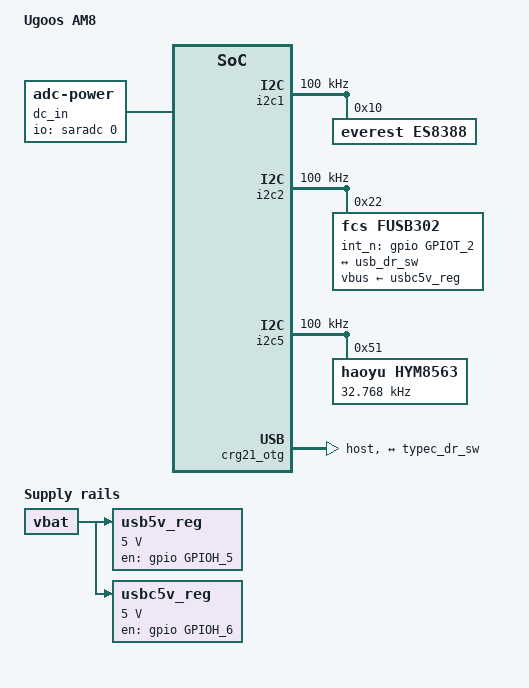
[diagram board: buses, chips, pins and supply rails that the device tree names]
#include "s5_s928x_ax201_v2_linux.dts"
#include "dt-bindings/usb/pd.h"
#include "coreelec_s5_common.dtsi"

/ {
	model = "Ugoos AM8";
	coreelec-dt-id = "s5_s928x_ugoos_am8_4g";
	amlogic-dt-id = "s5_s928x_AM8-4g";

	memory@00000000 {
		device_type = "memory";
		linux,usable-memory = <0x00000000 0x00000000 0x00000000 0xE0000000
					0x00000001 0x00000000 0x00000000 0x20000000>;
	};

	gpioleds {
		/* red led */
		net_red {
			label = "net_red";
			gpios = <&gpio GPIOD_7 GPIO_ACTIVE_LOW>;
			linux,default-trigger = "default-on";
			retain-state-suspended;
		};

		/* green led */
		net_green {
			label = "net_green";
			gpios = <&gpio GPIOD_11 GPIO_ACTIVE_HIGH>;
			linux,default-trigger = "default-on";
		};

		/* blue led */
		net_blue {
			label = "net_blue";
			gpios = <&gpio GPIOD_6 GPIO_ACTIVE_LOW>;
			linux,default-trigger = "default-on";
			retain-state-shutdown;
		};
	};

	// usb hub
	usb5v_reg: fixedregulator@usb5v {
		vin-supply = <&vbat>;
		compatible = "regulator-fixed";
		regulator-name = "USB5V";
		regulator-min-microvolt = <5000000>;
		regulator-max-microvolt = <5000000>;
		pinctrl-names = "default";
		gpio = <&gpio GPIOH_5 GPIO_ACTIVE_HIGH>;
		startup-delay-us = <70000>;
		enable-active-high;
		early-suspend;
		regulator-boot-on;
		regulator-always-on;
		regulator-state-mem {
			regulator-on-in-suspend;
		};
	};

	// usbc
	usbc5v_reg: fixedregulator@usbc5v {
		vin-supply = <&vbat>;
		compatible = "regulator-fixed";
		regulator-name = "USBC5V";
		regulator-min-microvolt = <5000000>;
		regulator-max-microvolt = <5000000>;
		pinctrl-names = "default";
		gpio = <&gpio GPIOH_6 GPIO_ACTIVE_HIGH>;
		startup-delay-us = <70000>;
		enable-active-high;
		early-suspend;
		regulator-boot-on;
		regulator-always-on;
		regulator-state-mem {
			regulator-on-in-suspend;
		};
	};

	dc_in {
		compatible = "adc-power";
		name = "dc_in";
		voltage_k = <15123>;
		io-channels = <&saradc 0>;
		io-channel-names = "voltage";
	};

	gpio_keypad{
		key_num = <1>;
		key_name = "power";
		key_code = <116>;
		key-gpios = <&gpio  GPIOD_2  GPIO_ACTIVE_HIGH>;
	};
};

&i2c1 {
	clock-frequency = <100000>;

	es8388: es8388@10 {
		status = "okay";
		compatible = "everest,es8388";
		#sound-dai-cells = <0>;
		reg = <0x10>;
		/*spk-con-gpio = <&gpio GPIOA_6 0x00>;*/
		def-vol = <0x1d>;
		def-dacvol = <0x0a>;
	};
};

&i2c2 {
	clock-frequency = <100000>;

	// usbc
	fusb302@22 {
		compatible = "fcs,fusb302";
		reg = <0x22>;
		// hw irq doesn't work
		//interrupt-parent = <&gpio_intc>;
		//interrupts = <GPIOT_2 IRQ_TYPE_LEVEL_LOW>;
		//pinctrl-names = "default";
		//pinctrl-0 = <&fusb302_int>;
		fcs,int_n = <&gpio GPIOT_2 GPIO_ACTIVE_HIGH>;
		vbus-supply = <&usbc5v_reg>;
		port {
			typec_dr_sw: endpoint {
				remote-endpoint = <&usb_dr_sw>;
			};
		};
		usb_con: connector {
			compatible = "usb-c-connector";
			label = "USB-C";
			data-role = "dual";
			power-role = "dual";
			try-power-role = "source";
			source-pdos = <PDO_FIXED(5000, 1000,
				PDO_FIXED_USB_COMM |
				PDO_FIXED_DUAL_ROLE |
				PDO_FIXED_DATA_SWAP |
				PDO_FIXED_EXTPOWER)>;
			sink-pdos = <PDO_FIXED(5000, 100,
				PDO_FIXED_USB_COMM |
				PDO_FIXED_DUAL_ROLE |
				PDO_FIXED_DATA_SWAP |
				PDO_FIXED_EXTPOWER)>;
			op-sink-microwatt = <1000000>;
		};
	};
};

/* rtc, eeprom */
&i2c5 {
	status = "okay";
	pinctrl-0 = <&i2c5_pins2>;
	clock-frequency = <100000>;

	hym8563: hym8563@51 {
		compatible = "haoyu,hym8563";
		reg = <0x51>;
		#clock-cells = <0>;
		clock-frequency = <32768>;
		clock-output-names = "xin32k";
	};
};

// otg (port B)
&crg21_otg {
	dr_mode = "host";
	role-switch-default-mode = "host";
	controller-type = <1>;  /* host only */
	/delete-property/ gpio-vbus-power;
	/delete-property/ gpios;
	port {
		usb_dr_sw: endpoint {
			remote-endpoint = <&typec_dr_sw>;
		};
	};
};

// usb host controller (port C)
&crg31 {
	vbus-supply = <&usb5v_reg>;
};

&aml_bt {
	hostwake-gpios = <&gpio GPIOX_3 GPIO_ACTIVE_HIGH>;
};
